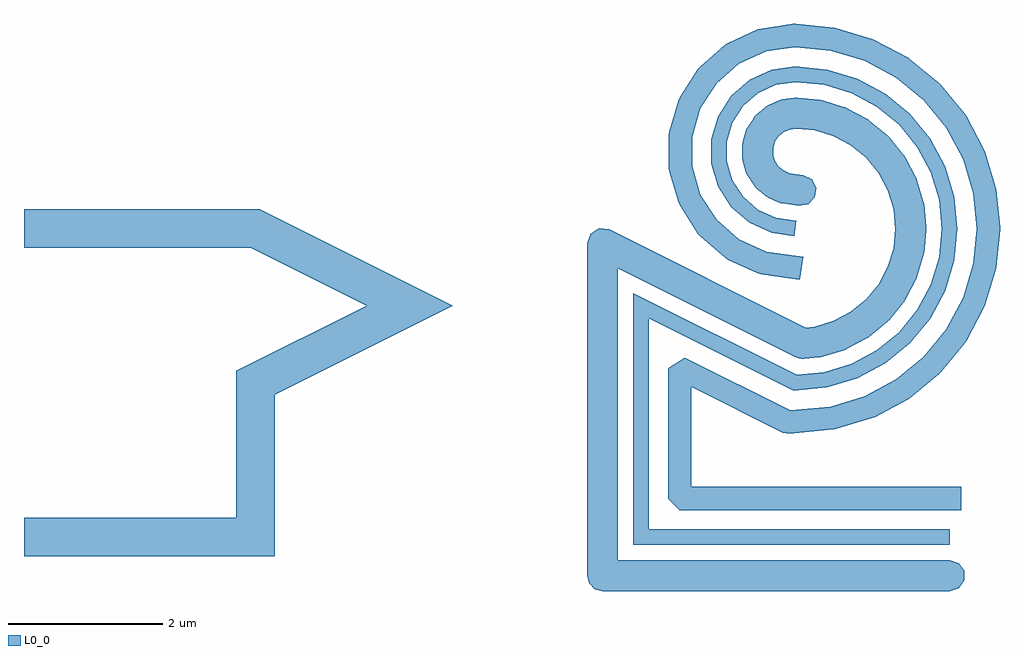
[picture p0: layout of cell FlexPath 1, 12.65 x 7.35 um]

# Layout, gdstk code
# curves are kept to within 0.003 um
import gdstk
lib = gdstk.Library(unit=1e-6, precision=1e-09)
def P(c, l, *ps):  # polygons
    for p in ps: c.add(gdstk.Polygon(p, *l))
L0_0 = (0, 0)

flexpath_1 = lib.new_cell('FlexPath 1')
P(flexpath_1, L0_0, [(12,0.35),(12.15,0.35),(12.15,0.65),(8.65,0.65),(8.65,1.948),(9.838,1.354),(9.92,1.339),(10.503,1.396),(11.001,1.545),(11.485,1.803),(11.885,2.135),(12.197,2.515),(12.444,2.972),(12.604,3.497),(12.652,3.985),(12.604,4.503),(12.455,5.001),(12.197,5.485),(11.865,5.885),(11.461,6.213),(11.028,6.444),(10.532,6.598),(10.003,6.653),(9.967,6.652),(9.555,6.593),(9.514,6.581),(9.124,6.403),(9.088,6.38),(8.764,6.099),(8.736,6.067),(8.505,5.706),(8.487,5.668),(8.366,5.256),(8.36,5.214),(8.36,4.786),(8.366,4.744),(8.487,4.332),(8.505,4.294),(8.736,3.933),(8.764,3.901),(9.088,3.62),(9.124,3.597),(9.514,3.419),(9.555,3.407),(10.056,3.335),(10.099,3.632),(9.619,3.701),(9.268,3.861),(8.977,4.114),(8.769,4.438),(8.66,4.807),(8.66,5.193),(8.769,5.562),(8.977,5.886),(9.268,6.139),(9.619,6.299),(9.992,6.352),(10.459,6.307),(10.9,6.173),(11.307,5.955),(11.663,5.663),(11.955,5.307),(12.173,4.9),(12.307,4.459),(12.352,4),(12.307,3.541),(12.173,3.1),(11.955,2.693),(11.663,2.337),(11.307,2.045),(10.9,1.827),(10.459,1.693),(9.934,1.642),(8.567,2.325),(8.35,2.191),(8.35,0.5),(8.5,0.35)],
  [(12,-0.1),(12,0.1),(8.1,0.1),(8.1,2.838),(9.981,1.898),(10.41,1.94),(10.804,2.059),(11.167,2.254),(11.485,2.515),(11.746,2.833),(11.941,3.196),(12.06,3.59),(12.1,4),(12.06,4.41),(11.941,4.804),(11.746,5.167),(11.485,5.485),(11.167,5.746),(10.804,5.941),(10.41,6.06),(9.998,6.101),(9.69,6.056),(9.405,5.926),(9.168,5.721),(8.998,5.457),(8.91,5.157),(8.91,4.843),(8.998,4.543),(9.168,4.279),(9.405,4.074),(9.69,3.944),(9.986,3.901),(10.014,4.099),(9.747,4.137),(9.514,4.244),(9.321,4.411),(9.182,4.627),(9.11,4.872),(9.11,5.128),(9.182,5.373),(9.321,5.589),(9.514,5.756),(9.747,5.863),(10.002,5.899),(10.371,5.863),(10.727,5.755),(11.055,5.579),(11.343,5.343),(11.579,5.055),(11.755,4.727),(11.863,4.371),(11.9,4),(11.863,3.629),(11.755,3.273),(11.579,2.945),(11.343,2.657),(11.055,2.421),(10.727,2.245),(10.371,2.137),(10.019,2.102),(7.9,3.162),(7.9,-0.1)],
  [(12,-0.7),(12.118,-0.662),(12.19,-0.562),(12.19,-0.438),(12.118,-0.338),(12,-0.3),(7.7,-0.3),(7.7,3.485),(10.005,2.333),(10.04,2.319),(10.077,2.313),(10.114,2.313),(10.338,2.336),(10.644,2.429),(10.949,2.592),(11.196,2.795),(11.4,3.041),(11.422,3.074),(11.571,3.356),(11.664,3.662),(11.668,3.688),(11.697,3.98),(11.697,4.02),(11.668,4.312),(11.664,4.338),(11.571,4.644),(11.408,4.949),(11.214,5.186),(11.186,5.214),(10.949,5.408),(10.656,5.566),(10.338,5.664),(10.312,5.668),(9.999,5.696),(9.832,5.673),(9.795,5.664),(9.632,5.59),(9.495,5.475),(9.469,5.448),(9.382,5.314),(9.358,5.262),(9.318,5.127),(9.311,5.089),(9.311,4.911),(9.318,4.873),(9.364,4.72),(9.458,4.568),(9.481,4.538),(9.616,4.421),(9.632,4.41),(9.795,4.336),(9.832,4.327),(10.043,4.297),(10.164,4.318),(10.251,4.407),(10.268,4.529),(10.211,4.638),(10.1,4.693),(9.918,4.719),(9.842,4.754),(9.779,4.808),(9.734,4.878),(9.71,4.958),(9.71,5.042),(9.734,5.122),(9.779,5.192),(9.842,5.246),(9.918,5.281),(10.016,5.295),(10.253,5.272),(10.496,5.198),(10.72,5.078),(10.917,4.917),(11.078,4.72),(11.198,4.496),(11.272,4.253),(11.297,4),(11.272,3.747),(11.198,3.504),(11.078,3.28),(10.917,3.083),(10.72,2.922),(10.496,2.802),(10.253,2.728),(10.132,2.716),(7.589,3.988),(7.457,4.004),(7.344,3.934),(7.3,3.809),(7.3,-0.5),(7.327,-0.6),(7.4,-0.673),(7.5,-0.7)])
flexpath_1.add(gdstk.FlexPath([(0,0),(3,0),(3,2),(5,3),(3,4),(0,4)], 0.5, ends="flush", simple_path=True, layer=0, datatype=0))  # L0_0

lib.write_gds('FlexPath_1.gds')
